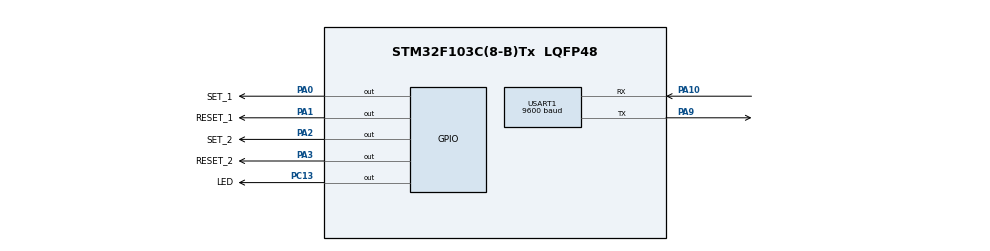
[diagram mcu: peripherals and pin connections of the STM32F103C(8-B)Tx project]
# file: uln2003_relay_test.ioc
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Mcu.Family=STM32F1
Mcu.Name=STM32F103C(8-B)Tx
Mcu.Package=LQFP48
NVIC.PriorityGroup=NVIC_PRIORITYGROUP_4
PA0-WKUP.GPIO_Label=SET_1
PA0-WKUP.Signal=GPIO_Output
PA1.GPIO_Label=RESET_1
PA1.Signal=GPIO_Output
PA10.Mode=Asynchronous
PA10.Signal=USART1_RX
PA13.Mode=Serial_Wire
PA13.Signal=SYS_JTMS-SWDIO
PA14.Mode=Serial_Wire
PA14.Signal=SYS_JTCK-SWCLK
PA2.GPIO_Label=SET_2
PA2.Signal=GPIO_Output
PA3.GPIO_Label=RESET_2
PA3.Signal=GPIO_Output
PA9.Mode=Asynchronous
PA9.Signal=USART1_TX
PC13-TAMPER-RTC.GPIO_Label=LED
PC13-TAMPER-RTC.Signal=GPIO_Output
PD0-OSC_IN.Mode=HSE-External-Oscillator
PD0-OSC_IN.Signal=RCC_OSC_IN
PD1-OSC_OUT.Mode=HSE-External-Oscillator
PD1-OSC_OUT.Signal=RCC_OSC_OUT
ProjectManager.HeapSize=0x200
ProjectManager.StackSize=0x400
ProjectManager.TargetToolchain=STM32CubeIDE
RCC.APB1Freq_Value=8000000
RCC.APB2Freq_Value=8000000
RCC.SYSCLKSource=RCC_SYSCLKSOURCE_HSE
USART1.BaudRate=9600
USART1.VirtualMode=VM_ASYNC
board=custom

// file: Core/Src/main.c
/* USER CODE BEGIN Header */
/**
  ******************************************************************************
  * @file           : main.c
  * @brief          : Main program body
  ******************************************************************************
  * @attention
  *
  * Copyright (c) 2023 STMicroelectronics.
  * All rights reserved.
  *
  * This software is licensed under terms that can be found in the LICENSE file
  * in the root directory of this software component.
  * If no LICENSE file comes with this software, it is provided AS-IS.
  *
  ******************************************************************************
  */

/* Using ULN2003AN with 2 5V latch relays*/

/* USER CODE END Header */
#include "main.h"

UART_HandleTypeDef huart1;

void SystemClock_Config(void);
static void MX_GPIO_Init(void);
static void MX_USART1_UART_Init(void);
/* USER CODE BEGIN PFP */
void progressive_switching(int delay);
void clear_buffer(char *buffer, uint8_t size);
/* USER CODE END PFP */

int main(void)
{

  /* MCU Configuration--------------------------------------------------------*/

  /* Reset of all peripherals, Initializes the Flash interface and the Systick. */
  HAL_Init();

  /* Configure the system clock */
  SystemClock_Config();

  /* Initialize all configured peripherals */
  MX_GPIO_Init();
  MX_USART1_UART_Init();
  /* USER CODE BEGIN 2 */
//  char topLeft[] = "\033[0;0H"; // place cursor on top left of screen
//  HAL_UART_Transmit(&huart1, topLeft, sizeof(topLeft), 10000);
//  char clearScreen[] = "\033[2J"; // clear screen
//  HAL_UART_Transmit(&huart1, clearScreen, sizeof(clearScreen), 10000);
//  char resetFormat[] = "\033[0"; // reset formatting
//  HAL_UART_Transmit(&huart1, resetFormat, sizeof(resetFormat), 10000);

  char intro[] = "Starting Relay code...\r\nEnter: [1]-Set1 [2]-Reset1 [3]-Set2 [4]-Reset2 [5]-ToggleLED\r\n";
  HAL_UART_Transmit(&huart1, intro, sizeof(intro), 10000);

  char rxCommand[1];
  char txBuffer[32];

  //int number = 0;
  /* USER CODE END 2 */

  /* Infinite loop */
  /* USER CODE BEGIN WHILE */
  while (1)
  {
	  //progressive_switching(1000);
	  //HAL_Delay(5000);

	  HAL_UART_Receive(&huart1, rxCommand, 1, HAL_MAX_DELAY);
	  //number = atoi(rxCommand);
	  for(uint8_t i; i<32; i++){
		  txBuffer[i] = '\0';
	  }

	  if (rxCommand[0] == '1'){
		  sprintf(txBuffer,"> %c Setting R1\r\n",rxCommand[0]);
		  HAL_UART_Transmit(&huart1, txBuffer, sizeof(txBuffer), 10000);
		  //clear_buffer(&txBuffer, 32);
		  HAL_GPIO_WritePin(SET_1_GPIO_Port, SET_1_Pin, SET);
		  HAL_Delay(10);
		  HAL_GPIO_WritePin(SET_1_GPIO_Port, SET_1_Pin, RESET);
	  }
	  if (rxCommand[0] == '2'){
		  sprintf(txBuffer,"> %c Resetting R1\r\n",rxCommand[0]);
		  HAL_UART_Transmit(&huart1, txBuffer, sizeof(txBuffer), 10000);
		  //clear_buffer(&txBuffer, 32);
		  HAL_GPIO_WritePin(RESET_1_GPIO_Port, RESET_1_Pin, SET);
		  HAL_Delay(10);
		  HAL_GPIO_WritePin(RESET_1_GPIO_Port, RESET_1_Pin, RESET);
	  }
	  if (rxCommand[0] == '3'){
		  sprintf(txBuffer,"> %c Setting R2\r\n",rxCommand[0]);
		  HAL_UART_Transmit(&huart1, txBuffer, sizeof(txBuffer), 10000);
		  //clear_buffer(&txBuffer, 32);
		  HAL_GPIO_WritePin(SET_2_GPIO_Port, SET_2_Pin, SET);
		  HAL_Delay(10);
		  HAL_GPIO_WritePin(SET_2_GPIO_Port, SET_2_Pin, RESET);
	  }
	  if (rxCommand[0] == '4'){
		  sprintf(txBuffer,"> %c Resetting R2\r\n",rxCommand[0]);
		  HAL_UART_Transmit(&huart1, txBuffer, sizeof(txBuffer), 10000);
		  //clear_buffer(&txBuffer, 32);
		  HAL_GPIO_WritePin(RESET_2_GPIO_Port, RESET_2_Pin, SET);
		  HAL_Delay(10);
		  HAL_GPIO_WritePin(RESET_2_GPIO_Port, RESET_2_Pin, RESET);
	  }
	  if (rxCommand[0] == '5'){
		  HAL_GPIO_TogglePin(LED_GPIO_Port, LED_Pin);
	  }

//
//	  switch(number){
//		  case 1: // set relay1 PA0
//			  HAL_GPIO_WritePin(SET_1_GPIO_Port, SET_1_Pin, SET);
//			  HAL_Delay(10);
//			  HAL_GPIO_WritePin(SET_1_GPIO_Port, SET_1_Pin, RESET);
//			  break;
//		  case 2: //reset relay2 PA1
//			  HAL_GPIO_WritePin(RESET_1_GPIO_Port, RESET_1_Pin, SET);
//			  HAL_Delay(10);
//			  HAL_GPIO_WritePin(RESET_1_GPIO_Port, RESET_1_Pin, RESET);
//			  break;
//		  case 3: // set relay2 PA2
//			  HAL_GPIO_WritePin(SET_2_GPIO_Port, SET_2_Pin, SET);
//			  HAL_Delay(10);
//			  HAL_GPIO_WritePin(SET_2_GPIO_Port, SET_2_Pin, RESET);
//			  break;
//		  case 4: // reser relay2 PA3
//			  HAL_GPIO_WritePin(RESET_2_GPIO_Port, RESET_2_Pin, SET);
//			  HAL_Delay(10);
//			  HAL_GPIO_WritePin(RESET_2_GPIO_Port, RESET_2_Pin, RESET);
//			  break;
//		  case 5: // reser relay2 PA3
//			  HAL_GPIO_TogglePin(LED_GPIO_Port, LED_Pin);
//			  break;
//	  }

    /* USER CODE END WHILE */

  }
}

void SystemClock_Config(void)
{
  RCC_OscInitTypeDef RCC_OscInitStruct = {0};
  RCC_ClkInitTypeDef RCC_ClkInitStruct = {0};

  /** Initializes the RCC Oscillators according to the specified parameters
  * in the RCC_OscInitTypeDef structure.
  */
  RCC_OscInitStruct.OscillatorType = RCC_OSCILLATORTYPE_HSE;
  RCC_OscInitStruct.HSEState = RCC_HSE_ON;
  RCC_OscInitStruct.PLL.PLLState = RCC_PLL_NONE;
  if (HAL_RCC_OscConfig(&RCC_OscInitStruct) != HAL_OK)
  {
    Error_Handler();
  }

  /** Initializes the CPU, AHB and APB buses clocks
  */
  RCC_ClkInitStruct.ClockType = RCC_CLOCKTYPE_HCLK|RCC_CLOCKTYPE_SYSCLK
                              |RCC_CLOCKTYPE_PCLK1|RCC_CLOCKTYPE_PCLK2;
  RCC_ClkInitStruct.SYSCLKSource = RCC_SYSCLKSOURCE_HSE;
  RCC_ClkInitStruct.AHBCLKDivider = RCC_SYSCLK_DIV1;
  RCC_ClkInitStruct.APB1CLKDivider = RCC_HCLK_DIV1;
  RCC_ClkInitStruct.APB2CLKDivider = RCC_HCLK_DIV1;

  if (HAL_RCC_ClockConfig(&RCC_ClkInitStruct, FLASH_LATENCY_0) != HAL_OK)
  {
    Error_Handler();
  }
}

static void MX_USART1_UART_Init(void)
{

  huart1.Instance = USART1;
  huart1.Init.BaudRate = 9600;
  huart1.Init.WordLength = UART_WORDLENGTH_8B;
  huart1.Init.StopBits = UART_STOPBITS_1;
  huart1.Init.Parity = UART_PARITY_NONE;
  huart1.Init.Mode = UART_MODE_TX_RX;
  huart1.Init.HwFlowCtl = UART_HWCONTROL_NONE;
  huart1.Init.OverSampling = UART_OVERSAMPLING_16;
  if (HAL_UART_Init(&huart1) != HAL_OK)
  {
    Error_Handler();
  }

}

static void MX_GPIO_Init(void)
{
  GPIO_InitTypeDef GPIO_InitStruct = {0};

  /* GPIO Ports Clock Enable */
  __HAL_RCC_GPIOC_CLK_ENABLE();
  __HAL_RCC_GPIOD_CLK_ENABLE();
  __HAL_RCC_GPIOA_CLK_ENABLE();

  /*Configure GPIO pin Output Level */
  HAL_GPIO_WritePin(LED_GPIO_Port, LED_Pin, GPIO_PIN_RESET);

  /*Configure GPIO pin Output Level */
  HAL_GPIO_WritePin(GPIOA, SET_1_Pin|RESET_1_Pin|SET_2_Pin|RESET_2_Pin, GPIO_PIN_RESET);

  /*Configure GPIO pin : LED_Pin */
  GPIO_InitStruct.Pin = LED_Pin;
  GPIO_InitStruct.Mode = GPIO_MODE_OUTPUT_PP;
  GPIO_InitStruct.Pull = GPIO_NOPULL;
  GPIO_InitStruct.Speed = GPIO_SPEED_FREQ_LOW;
  HAL_GPIO_Init(LED_GPIO_Port, &GPIO_InitStruct);

  /*Configure GPIO pins : SET_1_Pin RESET_1_Pin SET_2_Pin RESET_2_Pin */
  GPIO_InitStruct.Pin = SET_1_Pin|RESET_1_Pin|SET_2_Pin|RESET_2_Pin;
  GPIO_InitStruct.Mode = GPIO_MODE_OUTPUT_PP;
  GPIO_InitStruct.Pull = GPIO_NOPULL;
  GPIO_InitStruct.Speed = GPIO_SPEED_FREQ_LOW;
  HAL_GPIO_Init(GPIOA, &GPIO_InitStruct);

}

/* USER CODE BEGIN 4 */
void progressive_switching(int delay){
	// set 1
	HAL_GPIO_WritePin(SET_1_GPIO_Port, SET_1_Pin, SET);
	HAL_Delay(10);
	HAL_GPIO_WritePin(SET_1_GPIO_Port, SET_1_Pin, RESET);

	HAL_Delay(delay);

	// set 2
	HAL_GPIO_WritePin(SET_2_GPIO_Port, SET_2_Pin, SET);
	HAL_Delay(10);
	HAL_GPIO_WritePin(SET_2_GPIO_Port, SET_2_Pin, RESET);

	HAL_Delay(delay);

	// reset 1
	HAL_GPIO_WritePin(RESET_1_GPIO_Port, RESET_1_Pin, SET);
	HAL_Delay(10);
	HAL_GPIO_WritePin(RESET_1_GPIO_Port, RESET_1_Pin, RESET);

	HAL_Delay(delay);
	// reset 2
	HAL_GPIO_WritePin(RESET_2_GPIO_Port, RESET_2_Pin, SET);
	HAL_Delay(10);
	HAL_GPIO_WritePin(RESET_2_GPIO_Port, RESET_2_Pin, RESET);

}

void clear_buffer(char *buffer, uint8_t size){
	  for(uint8_t i; i<size; i++){
		  buffer[i] = '\0';
	  }
}

/* USER CODE END 4 */

void Error_Handler(void)
{
  __disable_irq();
  while (1)
  {
  }
}
